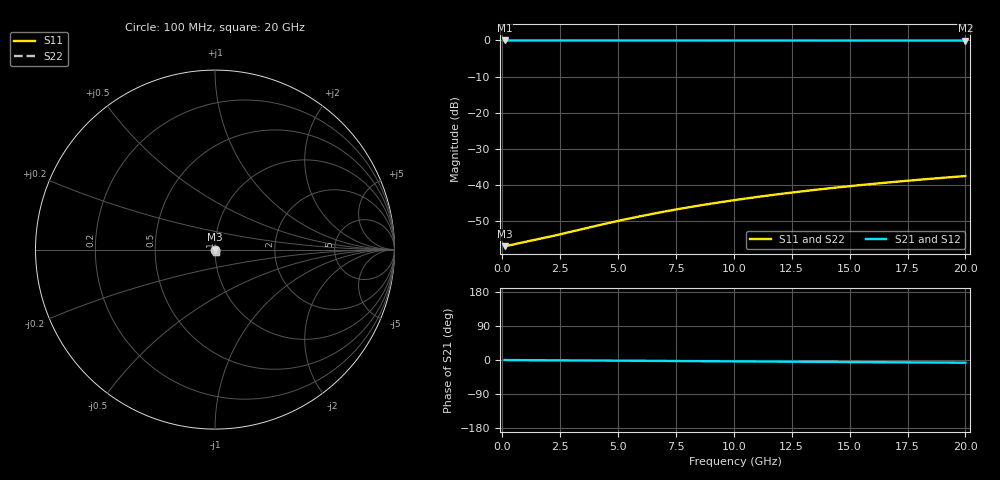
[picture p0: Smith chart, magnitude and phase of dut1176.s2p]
! Touchstone file exported from HFSS 2026.1.0
!  File:  C:/ffzhzh/LocalFiles/Ansys_Project_Files/temp_train_TSV_1176_1783192116_43440.aedt
!  Generated:  03:10:28 AM Jul  5, 2026
!  Design:  TSV
!  Project:  temp_train_TSV_1176_1783192116_43440
! Variables:
!  h_bsmrdl = 2um
!  h_ox = 20um
!  h_rdl = 5um
!  h_sub = 78.22um
!  h_tmrdl = 5um
!  h_tsv = 78.22um
!  h_via = 3um
!  l_bsmrdl = 300um
!  l_sub = 405.02um
!  l_tmrdl = 200um
!  m_sub = 200um
!  pitch = 9.18um
!  r_tsv = 2.51um
!  s_tmrdl = 10um
!  w_bsmrdl = 18um
!  w_sub = 500um
!  w_tmrdl = 12um
!  x_tsv_center1 = 206um
!  x_tsv_center2 = 524um
!  x_tsv_center3 = 736um
!  x_tsv_center4 = 1054um
!  x_tsv_center5 = 1266um
!  x_tsv_center6 = 1584um
# GHz S MA R 50.000000
! Terminal data exported
! Port[1] = TSV1_1_T1
! Port[2] = TSV1_1_T2
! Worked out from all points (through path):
!   200 points, 100 MHz to 20 GHz, reference 50 ohm
!   highest |S21| = -0.01 dB at 100 MHz (marker M1); lowest = 0.0 dB at 20 GHz (marker M2)
!   lowest |S11| = -56.8 dB at 100 MHz (marker M3), VSWR 1.00, Z = 50.1 - j0.00153 ohm
!   |S11| at or under -10 dB: start of sweep to end of sweep
!   |S22| runs from -56.8 to -37.5 dB; largest |S21 - S12| = 2.1e-15
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0.1  0.001441 -0.6  0.9986 -0.0  0.9986 -0.0  0.001441 -0.6
! Gamma 0 0 0 0
! Port Impedance 50 0 50 0
0.3  0.001476 -2.3  0.9985 -0.1  0.9985 -0.1  0.001476 -2.3
0.8  0.001604 -9.8  0.9984 -0.3  0.9984 -0.3  0.001604 -9.8
1.9  0.0019 -26.9  0.9983 -0.7  0.9983 -0.7  0.0019 -26.9
2.5  0.002101 -34.0  0.9982 -0.9  0.9982 -0.9  0.002101 -34.0
3.5  0.002501 -43.1  0.9981 -1.3  0.9981 -1.3  0.002501 -43.1
4.4  0.002917 -49.0  0.998 -1.6  0.998 -1.6  0.002917 -49.0
5.2  0.003321 -53.0  0.9979 -1.9  0.9979 -1.9  0.003321 -53.0
6  0.003754 -56.2  0.9978 -2.2  0.9978 -2.2  0.003754 -56.2
6.8  0.00421 -58.7  0.9977 -2.5  0.9977 -2.5  0.00421 -58.7
7.6  0.004686 -60.9  0.9975 -2.8  0.9975 -2.8  0.004686 -60.9
8.4  0.005181 -62.8  0.9974 -3.0  0.9974 -3.0  0.005181 -62.8
9.2  0.005691 -64.4  0.9972 -3.3  0.9972 -3.3  0.005691 -64.4
10.1  0.006282 -66.1  0.9971 -3.7  0.9971 -3.7  0.006282 -66.0
10.9  0.00682 -67.4  0.9969 -3.9  0.9969 -3.9  0.00682 -67.4
11.7  0.007368 -68.6  0.9968 -4.2  0.9968 -4.2  0.007368 -68.6
12.5  0.007925 -69.7  0.9966 -4.5  0.9966 -4.5  0.007925 -69.7
13.4  0.008561 -70.9  0.9965 -4.8  0.9965 -4.8  0.008561 -70.9
15  0.009711 -72.9  0.9962 -5.4  0.9962 -5.4  0.009711 -72.9
16.7  0.01095 -74.7  0.996 -6.0  0.996 -6.0  0.01095 -74.7
18.3  0.01214 -76.3  0.9957 -6.5  0.9957 -6.5  0.01214 -76.3
20  0.01341 -77.9  0.9955 -7.1  0.9955 -7.1  0.01341 -77.9
